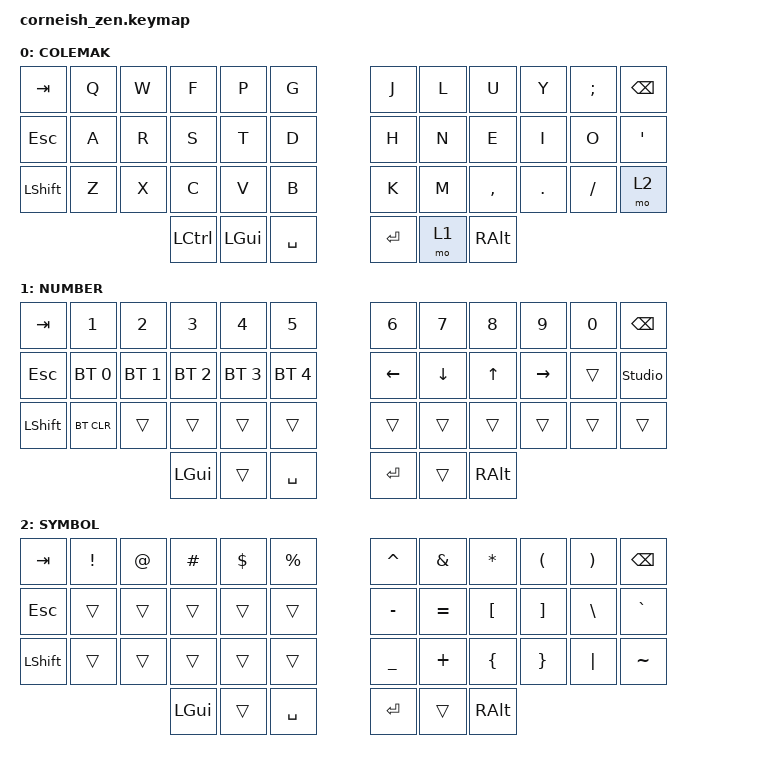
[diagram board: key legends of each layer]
#include <behaviors.dtsi>
#include <dt-bindings/zmk/keys.h>
#include <dt-bindings/zmk/bt.h>

/ {
    chosen {
        zmk,physical-layout = &foostan_corne_6col_layout;
        // zmk,physical-layout = &foostan_corne_5col_layout;
    };
};

/ {
    keymap {
        compatible = "zmk,keymap";

        default_layer {
            display-name = "COLEMAK";
// ---------------------------------------------------------------------------------
// |  TAB |  Q  |  W  |  F   |  P  |  G  |   |  J  |  L   |  U  |  Y  |  ;  | BSPC |
// | ESC  |  A  |  R  |  S   |  T  |  D  |   |  H  |  N   |  E  |  I  |  O  |  '   |
// | SHFT |  Z  |  X  |  C   |  V  |  B  |   |  K  |  M   |  ,  |  .  |  /  | RSE  |
//                    | CTRL | GUI | SPC |   | ENT | LWR  | ALT |
            bindings = <
&kp TAB   &kp Q &kp W &kp F &kp P &kp G   &kp J &kp L  &kp U     &kp Y   &kp SEMI &kp BSPC
&kp ESC   &kp A &kp R &kp S &kp T &kp D   &kp H &kp N  &kp E     &kp I   &kp O    &kp SQT
&kp LSHFT &kp Z &kp X &kp C &kp V &kp B   &kp K &kp M  &kp COMMA &kp DOT &kp FSLH &mo 2
               &kp LCTRL &kp LGUI &kp SPACE   &kp RET &mo 1 &kp RALT
            >;
        };

        lower_layer {
            display-name = "NUMBER";
// ---------------------------------------------------------------------------------
// |  TAB |  1    |  2  |  3  |  4  |  5  |   |  6  |  7  |  8  |  9  |  0  | BSPC |
// | ESC  | BT1   | BT2 | BT3 | BT4 | BT5 |   | LFT | DWN |  UP | RGT |     |Studio|
// | SHFT | BTCLR |     |     |     |     |   |     |     |     |     |     |      |
//                    | GUI |     | SPC |   | ENT |     | ALT |
            bindings = <
&kp TAB    &kp N1       &kp N2       &kp N3       &kp N4       &kp N5         &kp N6   &kp N7   &kp N8 &kp N9    &kp N0 &kp BSPC
&kp ESC    &bt BT_SEL 0 &bt BT_SEL 1 &bt BT_SEL 2 &bt BT_SEL 3 &bt BT_SEL 4   &kp LEFT &kp DOWN &kp UP &kp RIGHT &trans &studio_unlock
&kp LSHFT  &bt BT_CLR   &trans       &trans       &trans       &trans         &trans   &trans   &trans &trans    &trans &trans
                                     &kp LGUI     &trans       &kp SPACE      &kp RET  &trans   &kp RALT
            >;
        };

        raise_layer {
            display-name = "SYMBOL";
// -------------------------------------------------------------------------------
// |  TAB |  !  |  @  |  #  |  $  |  %  |   |  ^  |  &  |  *  |  (  |  )  | BSPC |
// | ESC  |     |     |     |     |     |   |  -  |  =  |  [  |  ]  |  \  |  `   |
// | SHFT |     |     |     |     |     |   |  _  |  +  |  {  |  }  | "|" |  ~   |
//                    | GUI |     | SPC |   | ENT |     | ALT |
            bindings = <
&kp TAB   &kp EXCL &kp AT &kp HASH &kp DLLR &kp PRCNT   &kp CARET &kp AMPS  &kp ASTRK &kp LPAR &kp RPAR &kp BSPC
&kp ESC   &trans   &trans &trans   &trans   &trans      &kp MINUS &kp EQUAL &kp LBKT  &kp RBKT &kp BSLH &kp GRAVE
&kp LSHFT &trans   &trans &trans   &trans   &trans      &kp UNDER &kp PLUS  &kp LBRC  &kp RBRC &kp PIPE &kp TILDE
                          &kp LGUI &trans   &kp SPACE   &kp RET   &trans    &kp RALT
            >;
        };
    };
};
